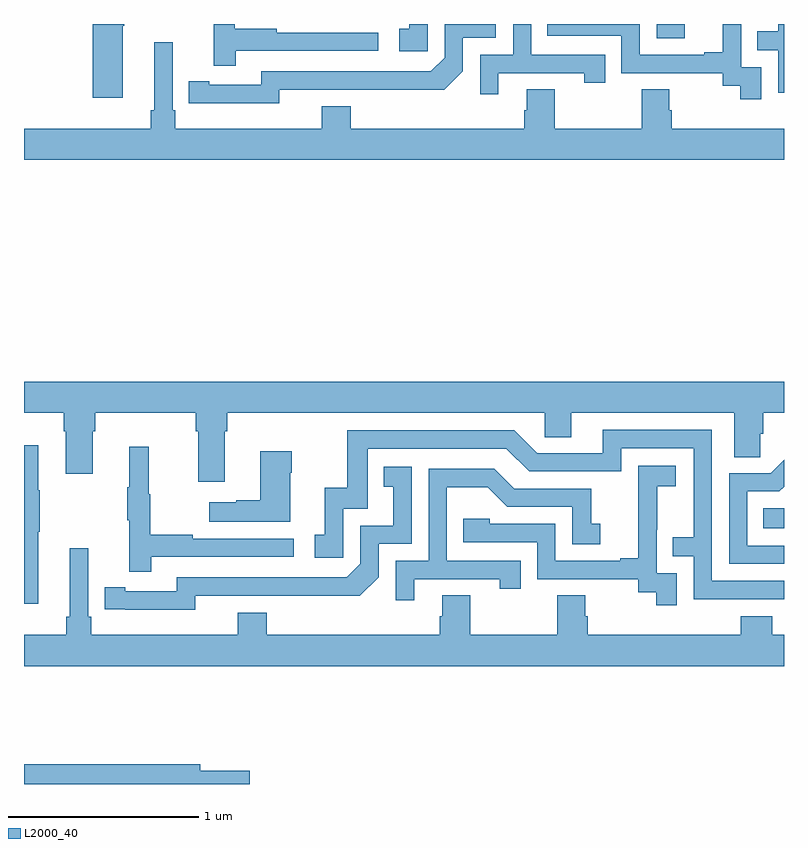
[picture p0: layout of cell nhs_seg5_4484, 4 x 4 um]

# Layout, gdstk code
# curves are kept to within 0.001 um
import gdstk
lib = gdstk.Library(unit=1e-6, precision=1e-09)
def R(c, l, rs):  # rectangles x0, y0, x1, y1
    for r in rs: c.add(gdstk.rectangle(r[:2], r[2:], *l))
def P(c, l, *ps):  # polygons
    for p in ps: c.add(gdstk.Polygon(p, *l))
L2000_40 = (2000, 40)

nhs_seg5_4484 = lib.new_cell('nhs_seg5_4484')
R(nhs_seg5_4484, L2000_40, [(378.892,864.146,379,864.25), (378.33,866.724,378.478,866.799)])
P(nhs_seg5_4484, L2000_40, [(375.52,866.791),(375.528,866.791),(375.528,866.799),(375.362,866.799),(375.362,866.412),(375.52,866.412)],
  [(379,866.799),(378.969,866.799),(378.969,866.762),(378.859,866.762),(378.859,866.661),(378.969,866.661),(378.969,866.436),(379,866.436)],
  [(377.124,866.799),(377.027,866.799),(377.027,866.775),(376.974,866.775),(376.974,866.655),(377.124,866.655)],
  [(376.344,866.454),(377.212,866.453),(377.31,866.55),(377.31,866.727),(377.484,866.727),(377.484,866.799),(377.214,866.799),(377.214,866.622),(377.142,866.55),(376.248,866.55),(376.248,866.478),(375.976,866.478),(375.976,866.498),(375.868,866.498),(375.868,866.382),(376.344,866.381)],
  [(376.115,866.658),(376.864,866.658),(376.864,866.754),(376.331,866.754),(376.331,866.774),(376.108,866.774),(376.108,866.799),(375.998,866.799),(375.998,866.58),(376.115,866.58)],
  [(378.879,866.571),(378.774,866.571),(378.774,866.799),(378.677,866.799),(378.677,866.65),(378.581,866.65),(378.581,866.637),(378.24,866.637),(378.24,866.799),(377.755,866.799),(377.755,866.736),(378.144,866.736),(378.144,866.541),(378.678,866.541),(378.678,866.473),(378.771,866.473),(378.771,866.403),(378.879,866.403)],
  [(377.497,866.541),(377.948,866.541),(377.948,866.49),(378.059,866.49),(378.059,866.637),(377.67,866.637),(377.67,866.799),(377.574,866.799),(377.574,866.637),(377.4,866.637),(377.4,866.43),(377.497,866.43)],
  [(379,866.248),(378.41,866.248),(378.41,866.346),(378.397,866.346),(378.397,866.456),(378.25,866.456),(378.25,866.248),(377.793,866.248),(377.793,866.456),(377.645,866.456),(377.645,866.346),(377.633,866.346),(377.633,866.248),(376.721,866.248),(376.721,866.365),(376.568,866.365),(376.568,866.248),(375.797,866.248),(375.797,866.344),(375.783,866.344),(375.783,866.704),(375.686,866.704),(375.686,866.344),(375.667,866.344),(375.667,866.248),(375,866.248),(375,866.084),(379,866.084)],
  [(375,864.752),(375.209,864.752),(375.209,864.656),(375.221,864.656),(375.221,864.432),(375.361,864.432),(375.361,864.656),(375.374,864.656),(375.374,864.752),(375.905,864.752),(375.905,864.656),(375.917,864.656),(375.917,864.39),(376.057,864.39),(376.057,864.656),(376.07,864.656),(376.07,864.752),(377.742,864.752),(377.742,864.625),(377.881,864.625),(377.881,864.752),(378.737,864.752),(378.737,864.52),(378.876,864.52),(378.876,864.643),(378.89,864.643),(378.89,864.752),(379,864.752),(379,864.916),(375,864.916)],
  [(379,863.868),(378.621,863.868),(378.621,864.663),(378.047,864.663),(378.047,864.54),(377.7,864.54),(377.58,864.66),(376.701,864.66),(376.701,864.358),(376.583,864.358),(376.583,864.111),(376.53,864.111),(376.53,863.991),(376.68,863.991),(376.68,864.249),(376.809,864.249),(376.809,864.564),(377.538,864.564),(377.658,864.444),(378.144,864.444),(378.144,864.567),(378.525,864.567),(378.525,864.098),(378.415,864.098),(378.415,863.997),(378.525,863.997),(378.525,863.772),(379,863.772)],
  [(375.076,864.127),(375.084,864.127),(375.084,864.344),(375.076,864.344),(375.076,864.583),(375,864.583),(375,863.748),(375.076,863.748)],
  [(375.671,863.994),(376.42,863.994),(376.42,864.09),(375.887,864.09),(375.887,864.11),(375.664,864.11),(375.664,864.324),(375.656,864.324),(375.656,864.574),(375.554,864.574),(375.554,864.361),(375.543,864.361),(375.543,864.187),(375.554,864.187),(375.554,863.916),(375.671,863.916)],
  [(376.402,864.437),(376.41,864.437),(376.41,864.55),(376.244,864.55),(376.244,864.293),(376.118,864.293),(376.118,864.283),(375.975,864.283),(375.975,864.179),(376.402,864.179)],
  [(379,864.054),(378.807,864.054),(378.807,864.339),(378.976,864.339),(379,864.363),(379,864.505),(378.93,864.435),(378.711,864.435),(378.711,863.958),(379,863.958)],
  [(378.435,863.907),(378.33,863.907),(378.33,864.137),(378.332,864.137),(378.332,864.365),(378.43,864.365),(378.43,864.475),(378.232,864.475),(378.232,864.269),(378.233,864.269),(378.233,863.986),(378.137,863.986),(378.137,863.973),(377.796,863.973),(377.796,864.168),(377.451,864.168),(377.451,864.195),(377.311,864.195),(377.311,864.072),(377.7,864.072),(377.7,863.877),(378.234,863.877),(378.234,863.809),(378.327,863.809),(378.327,863.739),(378.435,863.739)],
  [(375.9,863.79),(376.768,863.789),(376.866,863.886),(376.866,864.063),(377.04,864.063),(377.04,864.469),(376.894,864.469),(376.894,864.363),(376.943,864.363),(376.943,864.159),(376.77,864.159),(376.77,863.958),(376.698,863.886),(375.804,863.886),(375.804,863.814),(375.532,863.814),(375.532,863.834),(375.424,863.834),(375.424,863.718),(375.9,863.717)],
  [(377.053,863.877),(377.504,863.877),(377.504,863.826),(377.615,863.826),(377.615,863.973),(377.226,863.973),(377.226,864.362),(377.44,864.362),(377.544,864.258),(377.886,864.258),(377.886,864.06),(378.034,864.06),(378.034,864.169),(377.985,864.169),(377.985,864.354),(377.581,864.354),(377.476,864.459),(377.13,864.459),(377.13,863.973),(376.956,863.973),(376.956,863.766),(377.053,863.766)],
  [(379,863.584),(378.938,863.584),(378.938,863.683),(378.773,863.683),(378.773,863.584),(377.966,863.584),(377.966,863.682),(377.953,863.682),(377.953,863.792),(377.806,863.792),(377.806,863.584),(377.349,863.584),(377.349,863.792),(377.201,863.792),(377.201,863.682),(377.189,863.682),(377.189,863.584),(376.277,863.584),(376.277,863.701),(376.124,863.701),(376.124,863.584),(375.353,863.584),(375.353,863.68),(375.339,863.68),(375.339,864.04),(375.242,864.04),(375.242,863.68),(375.223,863.68),(375.223,863.584),(375,863.584),(375,863.42),(379,863.42)],
  [(376.189,862.868),(375.928,862.868),(375.928,862.904),(375,862.904),(375,862.799),(376.189,862.799)])

lib.write_gds('nhs_seg5_4484.gds')
